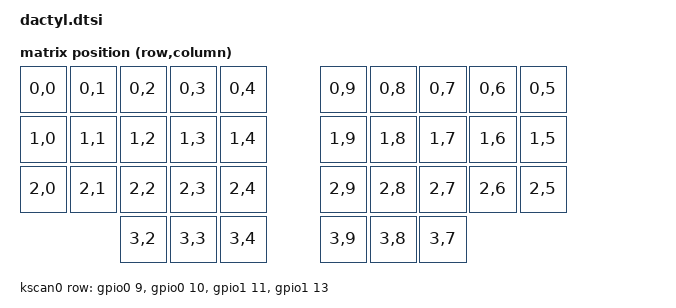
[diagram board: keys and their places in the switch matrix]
#include <dt-bindings/zmk/matrix_transform.h>

/ {
    physical_layout0: physical_layout_0 {
        compatible = "zmk,physical-layout";
        display-name = "Default";

        kscan = <&kscan0>;
        transform = <&default_transform>;

        keys  //                     w   h    x    y     rot    rx    ry
            = <&key_physical_attrs 100 100    0    0       0     0     0>
            , <&key_physical_attrs 100 100  100    0       0     0     0>
            , <&key_physical_attrs 100 100  200    0       0     0     0>
            , <&key_physical_attrs 100 100  300    0       0     0     0>
            , <&key_physical_attrs 100 100  400    0       0     0     0>
            , <&key_physical_attrs 100 100  600    0       0     0     0>
            , <&key_physical_attrs 100 100  700    0       0     0     0>
            , <&key_physical_attrs 100 100  800    0       0     0     0>
            , <&key_physical_attrs 100 100  900    0       0     0     0>
            , <&key_physical_attrs 100 100 1000    0       0     0     0>
            , <&key_physical_attrs 100 100    0  100       0     0     0>
            , <&key_physical_attrs 100 100  100  100       0     0     0>
            , <&key_physical_attrs 100 100  200  100       0     0     0>
            , <&key_physical_attrs 100 100  300  100       0     0     0>
            , <&key_physical_attrs 100 100  400  100       0     0     0>
            , <&key_physical_attrs 100 100  600  100       0     0     0>
            , <&key_physical_attrs 100 100  700  100       0     0     0>
            , <&key_physical_attrs 100 100  800  100       0     0     0>
            , <&key_physical_attrs 100 100  900  100       0     0     0>
            , <&key_physical_attrs 100 100 1000  100       0     0     0>
            , <&key_physical_attrs 100 100    0  200       0     0     0>
            , <&key_physical_attrs 100 100  100  200       0     0     0>
            , <&key_physical_attrs 100 100  200  200       0     0     0>
            , <&key_physical_attrs 100 100  300  200       0     0     0>
            , <&key_physical_attrs 100 100  400  200       0     0     0>
            , <&key_physical_attrs 100 100  600  200       0     0     0>
            , <&key_physical_attrs 100 100  700  200       0     0     0>
            , <&key_physical_attrs 100 100  800  200       0     0     0>
            , <&key_physical_attrs 100 100  900  200       0     0     0>
            , <&key_physical_attrs 100 100 1000  200       0     0     0>
            , <&key_physical_attrs 100 100  200  300       0     0     0>
            , <&key_physical_attrs 100 100  300  300       0     0     0>
            , <&key_physical_attrs 100 100  400  300       0     0     0>
            , <&key_physical_attrs 100 100  600  300       0     0     0>
            , <&key_physical_attrs 100 100  700  300       0     0     0>
            , <&key_physical_attrs 100 100  800  300       0     0     0>
            ;
    };

    position_map {
        compatible = "zmk,physical-layout-position-map";

        physical_layout0 {
            physical-layout = <&physical_layout0>;
            positions = <>;
        };
    };

    kscan0: kscan {
        compatible = "zmk,kscan-gpio-matrix";
        label = "KSCAN";
        wakeup-source;

        diode-direction = "col2row";
        row-gpios
            = <&gpio0 9  (GPIO_ACTIVE_HIGH | GPIO_PULL_DOWN)> // Row 0
            , <&gpio0 10 (GPIO_ACTIVE_HIGH | GPIO_PULL_DOWN)> // Row 1
            , <&gpio1 11 (GPIO_ACTIVE_HIGH | GPIO_PULL_DOWN)> // Row 2
            , <&gpio1 13 (GPIO_ACTIVE_HIGH | GPIO_PULL_DOWN)> // Row 3
            ;
    };

    default_transform: keymap_transform_0 {
        compatible = "zmk,matrix-transform";
        columns = <10>;
        rows = <4>;
        
        map = <
            RC(0,0) RC(0,1) RC(0,2) RC(0,3) RC(0,4)     RC(0,9) RC(0,8) RC(0,7) RC(0,6) RC(0,5)
            RC(1,0) RC(1,1) RC(1,2) RC(1,3) RC(1,4)     RC(1,9) RC(1,8) RC(1,7) RC(1,6) RC(1,5)
            RC(2,0) RC(2,1) RC(2,2) RC(2,3) RC(2,4)     RC(2,9) RC(2,8) RC(2,7) RC(2,6) RC(2,5)
                            RC(3,2) RC(3,3) RC(3,4)     RC(3,9) RC(3,8) RC(3,7)
        >;
    };
};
